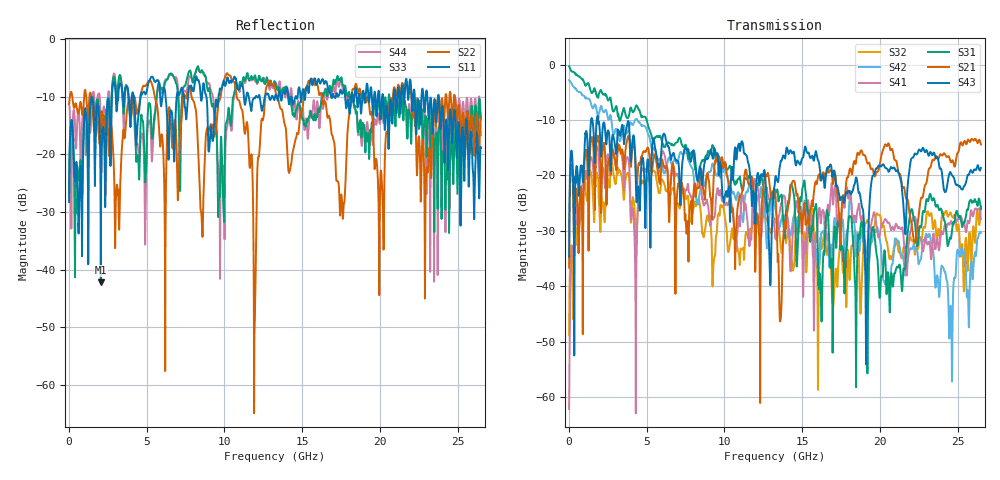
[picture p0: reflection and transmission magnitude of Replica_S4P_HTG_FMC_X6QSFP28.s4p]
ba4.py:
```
import skrf as rf
import matplotlib.pyplot as plt
from pathlib import Path

# Absolute path of the folder that holds *this* file
APP_DIR = Path(__file__).resolve().parent

# File you want to load, e.g. "config.yaml" that sits next to your script
filename = "Replica_S4P_HTG_FMC_X6QSFP28.s4p"
filename1 = "Replica_S4P_HTG_FMC_X6QSFP28_MIX_Mode.s4p"
data_file = APP_DIR / filename

ntw1 = rf.Network(data_file)
ntw1diff = ntw1.copy()
ntw1diff.se2gmm(p=2)

# plot differential return loss
plt.figure(figsize=(10, 5))                   
plt.subplot(1, 2, 1)
ntw1diff.s11.plot_s_db(label = 'sdd11')
plt.legend()

# plot differential insertion loss
plt.subplot(1, 2, 2)
ntw1diff.s21.plot_s_db(label = 'sdd21')
plt.legend()

##### Split into 2 halves #####

mm_dm = rf.IEEEP370_MM_NZC_2xThru(dummy_2xthru = ntw1, z0 = 50, name = '2xthru')

fix1 = mm_dm.se_side1
fix1.name = 'thru'
mm_side1 = fix1.copy()
mm_side1.se2gmm(p = 2)

# plot differential return loss of one half
plt.figure(figsize=(10, 5))                   
plt.subplot(1, 2, 1)
mm_side1.s11.plot_s_db(label = 'sdd11')
plt.legend()

# plot differential insertion loss of one half
plt.subplot(1, 2, 2)
mm_side1.s21.plot_s_db(label = 'sdd21')
plt.legend()

# save 4-port S-parameters of one half
fix1.write_touchstone('thru_newcode.s4p')

##### Add cable to port 1 and port2 #####

# freq = fix1.frequency
# p1 = rf.Circuit.Port(freq, name='port1', z0=50)
# p2 = rf.Circuit.Port(freq, name='port2', z0=50)
# p3 = rf.Circuit.Port(freq, name='port3', z0=50)
# p4 = rf.Circuit.Port(freq, name='port4', z0=50)

# cable1 = rf.Network('cable.s2p',name='cable1')
# cable2 = rf.Network('cable.s2p',name='cable2')

# fixture = rf.Circuit([[(p1,0),(cable1,0)],[(cable1,1),(fix1,0)],
                  # [(p2,0),(cable2,0)],[(cable2,1),(fix1,1)],
                  # [(p3,0),(fix1,2)],[(p4,0),(fix1,3)]
                  # ]).network
fixture = fix1

mm_fixture = fixture.copy()
mm_fixture.se2gmm(p = 2)

# plot differential return loss of final fixture
plt.figure(figsize=(10, 5))                   
plt.subplot(1, 2, 1)
mm_fixture.s11.plot_s_db(label = 'sdd11')
plt.legend()

# plot differential insertion loss of final fixture
plt.subplot(1, 2, 2)
mm_fixture.s21.plot_s_db(label = 'sdd21')
plt.legend()

# save 4-port S-parameters of final fixture
fixture.write_touchstone('fixture.s4p')
```
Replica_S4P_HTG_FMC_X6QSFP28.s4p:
!Keysight Technologies,N5222B,MY56022661,A.17.60.13
!Date: Sunday, September 29, 2024 10:35:28
!Correction: S11(C  4-Port  )
!S12(C  4-Port  )
!S13(C  4-Port  )
!S14(C  4-Port  )
!S21(C  4-Port  )
!S22(C  4-Port  )
!S23(C  4-Port  )
!S24(C  4-Port  )
!S31(C  4-Port  )
!S32(C  4-Port  )
!S33(C  4-Port  )
!S34(C  4-Port  )
!S41(C  4-Port  )
!S42(C  4-Port  )
!S43(C  4-Port  )
!S44(C  4-Port  )
!S4P File: Measurements: <S11,S12,S13,S14>,
!<S21,S22,S23,S24>,
!<S31,S32,S33,S34>,
!<S41,S42,S43,S44>:
# Hz S  dB  R 50
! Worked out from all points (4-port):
!   2650 points, 10 MHz to 26.5 GHz, reference 50 ohm
!   strongest paths, dB at 10 MHz, 6.63 GHz, 13.26 GHz, 19.88 GHz, 26.5 GHz:
!     S43: -34.7, -16.4, -20.8, -18.4, -18.7
!     S21: -36.6, -18.2, -22.9, -19.2, -14.4
!     S31: -0.3, -14.3, -23.4, -36.4, -26.1
!     S41: -62.2, -19.5, -31.2, -30.9, -27.9
!     S42: -2.8, -17.8, -25.7, -29.9, -30.3
!     S32: -48.8, -22.5, -28.3, -27.1, -25.7
!   lowest |S11| = -42.2 dB at 2.05 GHz (marker M1), VSWR 1.02, Z = 50.7 + j0.239 ohm
!   |S11| at or under -10 dB: start of sweep to 2.765 GHz; 8.841 GHz to 9.618 GHz (776.8 MHz wide, 8.42 % of centre); 23.8 GHz to end of sweep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
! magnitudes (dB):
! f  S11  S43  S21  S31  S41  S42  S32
! 10 MHz  -28.3  -34.7  -36.6  -0.3  -62.2  -2.8  -48.8
! 2.05 GHz  -42.2  -16.2  -24.9  -4.6  -25.1  -7.5  -28.1
! 26.5 GHz  -18.9  -18.7  -14.4  -26.1  -27.9  -30.3  -25.7
